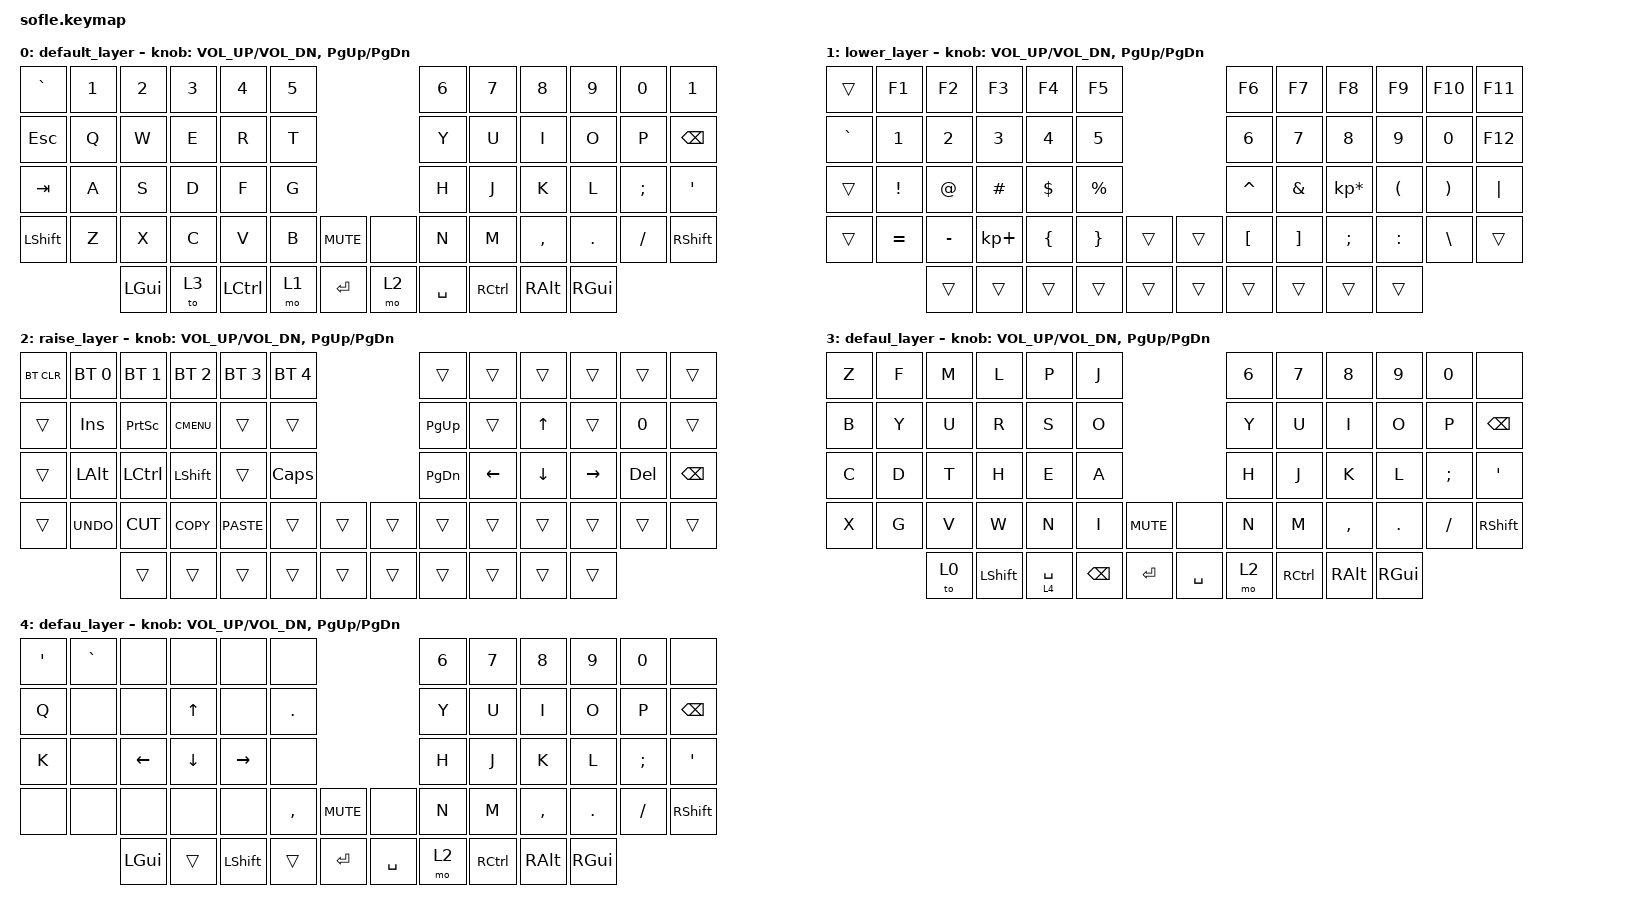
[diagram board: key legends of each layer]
/*
 * Copyright (c) 2020 The ZMK Contributors
 *
 * SPDX-License-Identifier: MIT
 */

#include <behaviors.dtsi>
#include <dt-bindings/zmk/keys.h>
#include <dt-bindings/zmk/bt.h>

#define DEFAULT 0
#define LOWER   1
#define RAISE   2
#define DEFAUL  3
#define DEFAU   4

/ {
    keymap {
        compatible = "zmk,keymap";

        default_layer {
// ------------------------------------------------------------------------------------------------------------
// |  `    |  1  |  2  |  3   |  4   |  5   |                   |  6   |  7    |  8    |  9   |   0   |   1   |
// |  ESC  |  Q  |  W  |  E   |  R   |  T   |                   |  Y   |  U    |  I    |  O   |   P   | BKSPC |
// |  TAB  |  A  |  S  |  D   |  F   |  G   |                   |  H   |  J    |  K    |  L   |   ;   |   '   |
// | SHIFT |  Z  |  X  |  C   |  V   |  B   |  MUTE  |  |       |  N   |  M    |  ,    |  .   |   /   | SHIFT |
//               | GUI |LAYER3| CTRL | LOWER|  ENTER |  | SPACE | RAISE| CTRL  | ALT   | GUI  |
            bindings = <
&kp GRAVE &kp N1 &kp N2   &kp N3   &kp N4    &kp N5                      &kp N6 &kp N7    &kp N8    &kp N9   &kp N0   &kp N1
&kp ESC   &kp Q  &kp W    &kp E    &kp R     &kp T                       &kp Y  &kp U     &kp I     &kp O    &kp P    &kp BSPC
&kp TAB   &kp A  &kp S    &kp D    &kp F     &kp G                       &kp H  &kp J     &kp K     &kp L    &kp SEMI &kp SQT
&kp LSHFT &kp Z  &kp X    &kp C    &kp V     &kp B  &kp C_MUTE &none     &kp N  &kp M     &kp COMMA &kp DOT  &kp FSLH &kp RSHFT
                 &kp LGUI &to 3    &kp LCTRL &mo 1  &kp RET    &mo 2 &kp SPACE  &kp RCTRL &kp RALT  &kp RGUI
            >;

            sensor-bindings = <&inc_dec_kp C_VOL_UP C_VOL_DN &inc_dec_kp PG_UP PG_DN>;
        };

        lower_layer {
// TODO: Some binds are waiting for shifted keycode support.
// ------------------------------------------------------------------------------------------------------------
// |       |  F1 |  F2 |  F3  |  F4  |  F5  |                   |  F6  |  F7   |  F8   |  F9  |  F10  |  F11  |
// | `     |   1 |   2 |   3  |   4  |   5  |                   |   6  |   7   |   8   |   9  |    0  |  F12  |
// |       |  !  |  @  |  #   |  $   |  %   |                   |  ^   |  &    |  *    |  (   |   )   |   |   |
// |       |  =  |  -  |  +   |  {   |  }   |        |  |       |  [   |  ]    |  ;    |  :   |   \   |       |
//               |     |      |      |      |        |  |       |      |       |       |      |
            bindings = <
&trans    &kp F1    &kp F2    &kp F3      &kp F4    &kp F5                    &kp F6    &kp F7   &kp F8          &kp F9    &kp F10   &kp F11
&kp GRAVE &kp N1    &kp N2    &kp N3      &kp N4    &kp N5                    &kp N6    &kp N7   &kp N8          &kp N9    &kp N0    &kp F12
&trans    &kp EXCL  &kp AT    &kp HASH    &kp DLLR  &kp PRCNT                 &kp CARET &kp AMPS &kp KP_MULTIPLY &kp LPAR  &kp RPAR  &kp PIPE
&trans    &kp EQUAL &kp MINUS &kp KP_PLUS &kp LBRC  &kp RBRC  &trans   &trans &kp LBKT  &kp RBKT &kp SEMI        &kp COLON &kp BSLH  &trans
                    &trans    &trans      &trans    &trans    &trans   &trans &trans    &trans   &trans          &trans
            >;

            sensor-bindings = <&inc_dec_kp C_VOL_UP C_VOL_DN &inc_dec_kp PG_UP PG_DN>;
        };

        raise_layer {
// ------------------------------------------------------------------------------------------------------------
// |BTCLR| BT1  | BT2  |  BT3  |  BT4  |  BT5 |                |      |      |       |      |       |       |
// |     | INS  | PSCR | GUI   |       |      |                | PGUP |      |   ^   |      |       |       |
// |     | ALT  | CTRL | SHIFT |       | CAPS |                | PGDN |   <- |   v   |  ->  |  DEL  | BKSPC |
// |     | UNDO | CUT  | COPY  | PASTE |      |      |  |      |      |      |       |      |       |       |
//              |      |       |       |      |      |  |      |      |      |       |      |
            bindings = <
&bt BT_CLR &bt BT_SEL 0 &bt BT_SEL 1 &bt BT_SEL 2 &bt BT_SEL 3 &bt BT_SEL 4             &trans    &trans    &trans   &trans    &trans  &trans
&trans     &kp INS      &kp PSCRN    &kp K_CMENU  &trans       &trans                   &kp PG_UP &trans    &kp UP   &trans    &kp N0  &trans
&trans     &kp LALT     &kp LCTRL    &kp LSHFT    &trans       &kp CLCK                 &kp PG_DN &kp LEFT  &kp DOWN &kp RIGHT &kp DEL &kp BSPC
&trans     &kp K_UNDO   &kp K_CUT    &kp K_COPY   &kp K_PASTE  &trans  &trans   &trans  &trans    &trans    &trans   &trans    &trans  &trans
                        &trans       &trans       &trans       &trans  &trans   &trans  &trans    &trans    &trans   &trans
            >;

            sensor-bindings = <&inc_dec_kp C_VOL_UP C_VOL_DN &inc_dec_kp PG_UP PG_DN>;
        };
        
        defaul_layer {
// ------------------------------------------------------------------------------------------------------------
// |  P    |  P  |  F  |  M   |  L   |  J   |                   |  6   |  7    |  8    |  9   |   0   |       |
// |  B    |  Y  |  U  |  R   |  S   |  O   |                   |  Y   |  U    |  I    |  O   |   P   | BKSPC |
// |  C    |  D  |  T  |  H   |  E   |  A   |                   |  H   |  J    |  K    |  L   |   ;   |   '   |
// |  X    |  G  |  V  |  W   |  N   |  I   |  MUTE  |  |       |  N   |  M    |  ,    |  .   |   /   | SHIFT |
//               |LAYER0|BKSPC|SHIFT | SPACE|  ENTER |  | SPACE | RAISE| CTRL  | ALT   | GUI  |
            bindings = <
&kp Z     &kp F  &kp M    &kp L    &kp P    &kp J                      &kp N6 &kp N7    &kp N8    &kp N9   &kp N0   &none
&kp B     &kp Y  &kp U    &kp R    &kp S    &kp O                       &kp Y  &kp U     &kp I     &kp O    &kp P    &kp BSPC
&kp C     &kp D  &kp T    &kp H    &kp E    &kp A                       &kp H  &kp J     &kp K     &kp L    &kp SEMI &kp SQT
&kp X     &kp G  &kp V    &kp W    &kp N    &kp I   &kp C_MUTE   &none  &kp N  &kp M     &kp COMMA &kp DOT  &kp FSLH &kp RSHFT
                &to 0 &kp LSHFT    &lt 4 SPACE &kp BSPC  &kp RET   &kp SPACE &mo 2  &kp RCTRL &kp RALT  &kp RGUI
            >;

            sensor-bindings = <&inc_dec_kp C_VOL_UP C_VOL_DN &inc_dec_kp PG_UP PG_DN>;
        };
        
                defau_layer {
// ------------------------------------------------------------------------------------------------------------
// |  '    |  `  |     |      |      |      |                   |  6   |  7    |  8    |  9   |   0   |       |
// |  Q    |     |     |  ˆ   |      |  .   |                   |  Y   |  U    |  I    |  O   |   P   | BKSPC |
// |  K    |     |  <  |  v   |  >   |      |                   |  H   |  J    |  K    |  L   |   ;   |   '   |
// |       |     |     |      |      |  ,   |  MUTE  |  |       |  N   |  M    |  ,    |  .   |   /   | SHIFT |
//               | GUI |LAYER0|SHIFT | SPACE|  ENTER |  | SPACE | RAISE| CTRL  | ALT   | GUI  |
            bindings = <
&kp SQT   &kp GRAVE &none    &none    &none    &none                        &kp N6 &kp N7    &kp N8    &kp N9   &kp N0   &none
&kp Q     &none     &none    &kp UP   &none    &kp DOT                      &kp Y  &kp U     &kp I     &kp O    &kp P    &kp BSPC
&kp K     &none     &kp LEFT &kp DOWN &kp RIGHT &none                       &kp H  &kp J     &kp K     &kp L    &kp SEMI &kp SQT
&none     &none     &none    &none    &none    &kp COMMA &kp C_MUTE   &none  &kp N  &kp M     &kp COMMA &kp DOT  &kp FSLH &kp RSHFT
                &kp LGUI &trans      &kp LSHFT &trans    &kp RET      &kp SPACE &mo 2  &kp RCTRL &kp RALT  &kp RGUI
            >;

            sensor-bindings = <&inc_dec_kp C_VOL_UP C_VOL_DN &inc_dec_kp PG_UP PG_DN>;
        };
    };
};
